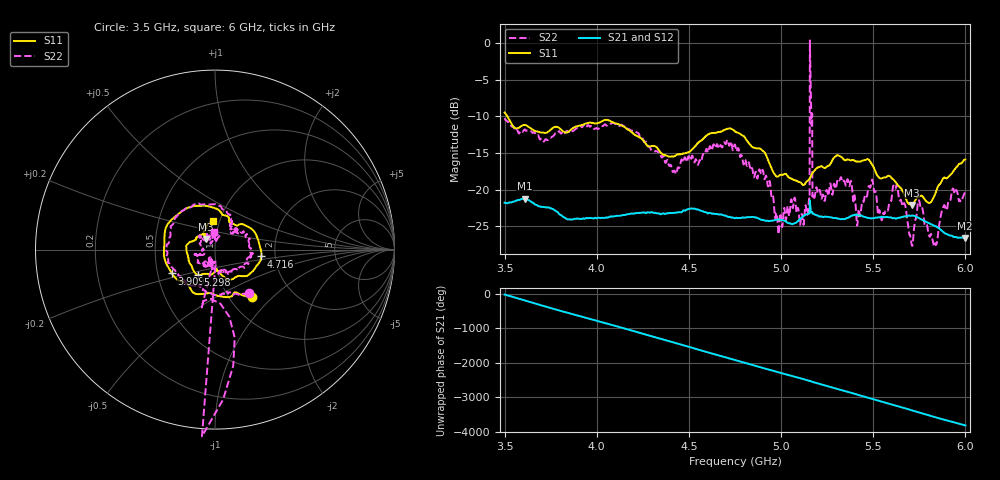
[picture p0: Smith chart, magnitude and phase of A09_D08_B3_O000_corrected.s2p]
! Created with skrf 1.9.0 (http://scikit-rf.org).
# Hz S RI R 50.0
!freq ReS11 ImS11 ReS21 ImS21 ReS12 ImS12 ReS22 ImS22
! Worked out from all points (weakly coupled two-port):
!   1601 points, 3.5 GHz to 6 GHz, reference 50 ohm
!   highest |S21| = -21.23 dB at 3.609 GHz (marker M1); lowest = -26.6 dB at 5.997 GHz (marker M2)
!   lowest |S11| = -22.1 dB at 5.709 GHz (marker M3), VSWR 1.17, Z = 44.8 + j5.33 ohm
!   |S11| at or under -10 dB: 3.515 GHz to end of sweep
!   |S22| runs from -27.7 to 0.4 dB; largest |S21 - S12| = 0.0012
!   S11 on the Smith chart (normalised r, x): 3.5 GHz: 1.27, -0.76; 3.909 GHz: 0.60, -0.17; 4.716 GHz: 1.69, -0.14; 5.298 GHz: 0.79, -0.23; 6 GHz: 0.93, +0.31
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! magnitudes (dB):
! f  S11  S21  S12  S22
! 3.5 GHz  -9.5  -21.8  -21.8  -10.2
! 3.609 GHz  -11.2  -21.2  -21.3  -11.8
! 3.909 GHz  -11.3  -24.0  -24.0  -11.3
! 3.917 GHz  -11.2  -24.0  -24.0  -11.4
! 4.334 GHz  -14.5  -23.2  -23.2  -14.9
! 4.423 GHz  -15.4  -23.2  -23.1  -17.5
! 4.716 GHz  -11.6  -23.7  -23.8  -13.9
! 4.75 GHz  -12.0  -23.9  -23.8  -13.9
! 4.995 GHz  -18.0  -24.1  -24.1  -23.2
! 5.133 GHz  -19.1  -23.4  -23.4  -22.1
! 5.167 GHz  -17.9  -23.0  -23.0  -10.7
! 5.183 GHz  -17.3  -23.4  -23.3  -20.9
! 5.298 GHz  -15.4  -23.9  -23.9  -19.8
! 5.419 GHz  -16.2  -23.5  -23.5  -23.2
! 5.487 GHz  -16.3  -23.9  -23.9  -19.4
! 5.584 GHz  -18.1  -23.8  -23.8  -22.1
! 5.622 GHz  -19.0  -24.0  -24.0  -19.8
! 5.709 GHz  -22.1  -23.5  -23.5  -27.6
! 5.75 GHz  -20.9  -23.9  -23.9  -21.6
! 5.834 GHz  -20.7  -25.0  -24.9  -27.5
! 5.997 GHz  -15.9  -26.6  -26.5  -20.4
! 6 GHz  -15.9  -26.6  -26.6  -20.0
